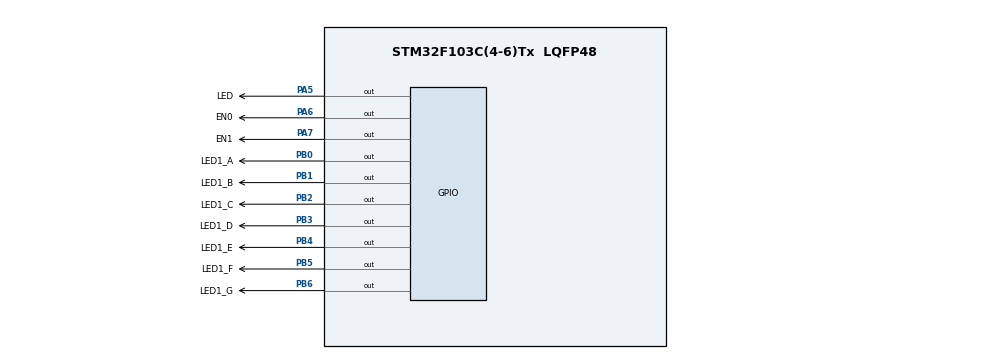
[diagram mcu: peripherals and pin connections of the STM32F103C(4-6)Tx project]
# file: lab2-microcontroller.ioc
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Mcu.Family=STM32F1
Mcu.Name=STM32F103C(4-6)Tx
Mcu.Package=LQFP48
NVIC.PriorityGroup=NVIC_PRIORITYGROUP_4
NVIC.TIM2_IRQn=true\:0\:0\:false\:false\:true\:true\:true
PA5.GPIO_Label=LED
PA5.Signal=GPIO_Output
PA6.GPIO_Label=EN0
PA6.Signal=GPIO_Output
PA7.GPIO_Label=EN1
PA7.Signal=GPIO_Output
PB0.GPIO_Label=LED1_A
PB0.Signal=GPIO_Output
PB1.GPIO_Label=LED1_B
PB1.Signal=GPIO_Output
PB2.GPIO_Label=LED1_C
PB2.Signal=GPIO_Output
PB3.GPIO_Label=LED1_D
PB3.Signal=GPIO_Output
PB4.GPIO_Label=LED1_E
PB4.Signal=GPIO_Output
PB5.GPIO_Label=LED1_F
PB5.Signal=GPIO_Output
PB6.GPIO_Label=LED1_G
PB6.Signal=GPIO_Output
ProjectManager.HeapSize=0x200
ProjectManager.StackSize=0x400
ProjectManager.TargetToolchain=STM32CubeIDE
RCC.APB1Freq_Value=8000000
RCC.APB2Freq_Value=8000000
TIM2.Period=9
TIM2.Prescaler=7999
VP_SYS_VS_ND.Mode=No_Debug
VP_TIM2_VS_ClockSourceINT.Mode=Internal
board=custom

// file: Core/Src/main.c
/* USER CODE BEGIN Header */
/**
  ******************************************************************************
  * @file           : main.c
  * @brief          : Main program body
  ******************************************************************************
  * @attention
  *
  * <h2><center>&copy; Copyright (c) 2021 STMicroelectronics.
  * All rights reserved.</center></h2>
  *
  * This software component is licensed by ST under BSD 3-Clause license,
  * the "License"; You may not use this file except in compliance with the
  * License. You may obtain a copy of the License at:
  *                        opensource.org/licenses/BSD-3-Clause
  *
  ******************************************************************************
  */
/* USER CODE END Header */
#include "main.h"

/* USER CODE BEGIN Includes */
#include "led_display_configuration.h"
/* USER CODE END Includes */

TIM_HandleTypeDef htim2;

void SystemClock_Config(void);
static void MX_GPIO_Init(void);
static void MX_TIM2_Init(void);

int main(void)
{

  /* MCU Configuration--------------------------------------------------------*/

  /* Reset of all peripherals, Initializes the Flash interface and the Systick. */
  HAL_Init();

  /* Configure the system clock */
  SystemClock_Config();

  /* Initialize all configured peripherals */
  MX_GPIO_Init();
  MX_TIM2_Init();
  /* USER CODE BEGIN 2 */
  HAL_TIM_Base_Start_IT(&htim2);
  /* USER CODE END 2 */

  /* Infinite loop */
  while (1)
  {

  }
}

void SystemClock_Config(void)
{
  RCC_OscInitTypeDef RCC_OscInitStruct = {0};
  RCC_ClkInitTypeDef RCC_ClkInitStruct = {0};

  /** Initializes the RCC Oscillators according to the specified parameters
  * in the RCC_OscInitTypeDef structure.
  */
  RCC_OscInitStruct.OscillatorType = RCC_OSCILLATORTYPE_HSI;
  RCC_OscInitStruct.HSIState = RCC_HSI_ON;
  RCC_OscInitStruct.HSICalibrationValue = RCC_HSICALIBRATION_DEFAULT;
  RCC_OscInitStruct.PLL.PLLState = RCC_PLL_NONE;
  if (HAL_RCC_OscConfig(&RCC_OscInitStruct) != HAL_OK)
  {
    Error_Handler();
  }
  /** Initializes the CPU, AHB and APB buses clocks
  */
  RCC_ClkInitStruct.ClockType = RCC_CLOCKTYPE_HCLK|RCC_CLOCKTYPE_SYSCLK
                              |RCC_CLOCKTYPE_PCLK1|RCC_CLOCKTYPE_PCLK2;
  RCC_ClkInitStruct.SYSCLKSource = RCC_SYSCLKSOURCE_HSI;
  RCC_ClkInitStruct.AHBCLKDivider = RCC_SYSCLK_DIV1;
  RCC_ClkInitStruct.APB1CLKDivider = RCC_HCLK_DIV1;
  RCC_ClkInitStruct.APB2CLKDivider = RCC_HCLK_DIV1;

  if (HAL_RCC_ClockConfig(&RCC_ClkInitStruct, FLASH_LATENCY_0) != HAL_OK)
  {
    Error_Handler();
  }
}

static void MX_TIM2_Init(void)
{

  TIM_ClockConfigTypeDef sClockSourceConfig = {0};
  TIM_MasterConfigTypeDef sMasterConfig = {0};

  htim2.Instance = TIM2;
  htim2.Init.Prescaler = 7999;
  htim2.Init.CounterMode = TIM_COUNTERMODE_UP;
  htim2.Init.Period = 9;
  htim2.Init.ClockDivision = TIM_CLOCKDIVISION_DIV1;
  htim2.Init.AutoReloadPreload = TIM_AUTORELOAD_PRELOAD_DISABLE;
  if (HAL_TIM_Base_Init(&htim2) != HAL_OK)
  {
    Error_Handler();
  }
  sClockSourceConfig.ClockSource = TIM_CLOCKSOURCE_INTERNAL;
  if (HAL_TIM_ConfigClockSource(&htim2, &sClockSourceConfig) != HAL_OK)
  {
    Error_Handler();
  }
  sMasterConfig.MasterOutputTrigger = TIM_TRGO_RESET;
  sMasterConfig.MasterSlaveMode = TIM_MASTERSLAVEMODE_DISABLE;
  if (HAL_TIMEx_MasterConfigSynchronization(&htim2, &sMasterConfig) != HAL_OK)
  {
    Error_Handler();
  }

}

static void MX_GPIO_Init(void)
{
  GPIO_InitTypeDef GPIO_InitStruct = {0};

  /* GPIO Ports Clock Enable */
  __HAL_RCC_GPIOA_CLK_ENABLE();
  __HAL_RCC_GPIOB_CLK_ENABLE();

  /*Configure GPIO pin Output Level */
  HAL_GPIO_WritePin(GPIOA, LED_Pin|EN0_Pin|EN1_Pin, GPIO_PIN_RESET);

  /*Configure GPIO pin Output Level */
  HAL_GPIO_WritePin(GPIOB, LED1_A_Pin|LED1_B_Pin|LED1_C_Pin|LED1_D_Pin
                          |LED1_E_Pin|LED1_F_Pin|LED1_G_Pin, GPIO_PIN_RESET);

  /*Configure GPIO pins : LED_Pin EN0_Pin EN1_Pin */
  GPIO_InitStruct.Pin = LED_Pin|EN0_Pin|EN1_Pin;
  GPIO_InitStruct.Mode = GPIO_MODE_OUTPUT_PP;
  GPIO_InitStruct.Pull = GPIO_NOPULL;
  GPIO_InitStruct.Speed = GPIO_SPEED_FREQ_LOW;
  HAL_GPIO_Init(GPIOA, &GPIO_InitStruct);

  /*Configure GPIO pins : LED1_A_Pin LED1_B_Pin LED1_C_Pin LED1_D_Pin
                           LED1_E_Pin LED1_F_Pin LED1_G_Pin */
  GPIO_InitStruct.Pin = LED1_A_Pin|LED1_B_Pin|LED1_C_Pin|LED1_D_Pin
                          |LED1_E_Pin|LED1_F_Pin|LED1_G_Pin;
  GPIO_InitStruct.Mode = GPIO_MODE_OUTPUT_PP;
  GPIO_InitStruct.Pull = GPIO_NOPULL;
  GPIO_InitStruct.Speed = GPIO_SPEED_FREQ_LOW;
  HAL_GPIO_Init(GPIOB, &GPIO_InitStruct);

}

/* USER CODE BEGIN 4 */
int counter = 50;
int change = 1;

void HAL_TIM_PeriodElapsedCallback( TIM_HandleTypeDef *htim ) {
	counter--;
	if(counter <= 0) {
		counter = 50;
		HAL_GPIO_TogglePin (LED_GPIO_Port ,LED_Pin);

		if(change == 1){
			HAL_GPIO_WritePin(EN0_GPIO_Port, EN0_Pin, 0);
			HAL_GPIO_WritePin(EN1_GPIO_Port, EN1_Pin, 1);
			display7SEG1(change);
			change = 2;
		}
		else {
			HAL_GPIO_WritePin(EN0_GPIO_Port, EN0_Pin, 1);
			HAL_GPIO_WritePin(EN1_GPIO_Port, EN1_Pin, 0);
			display7SEG1(change);
			change = 1;
		}
	}
}
/* USER CODE END 4 */

void Error_Handler(void)
{
  __disable_irq();
  while (1)
  {
  }
}

/************************ (C) COPYRIGHT STMicroelectronics *****END OF FILE****/
